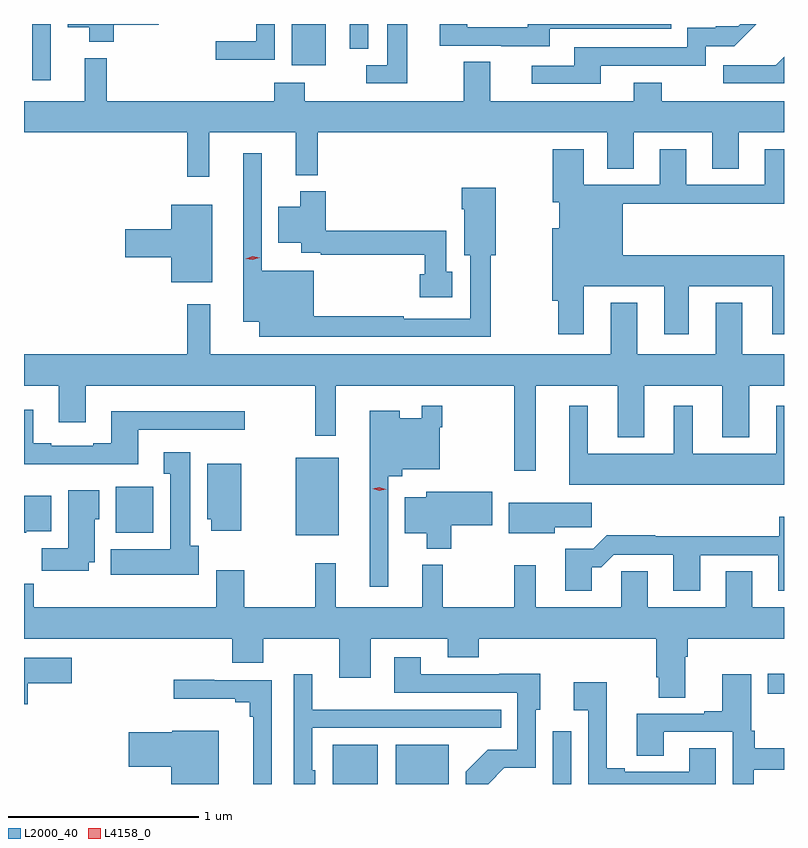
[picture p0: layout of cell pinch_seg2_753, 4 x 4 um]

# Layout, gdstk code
import gdstk
lib = gdstk.Library(unit=1e-6, precision=1e-09)
def R(c, l, rs):  # rectangles x0, y0, x1, y1
    for r in rs: c.add(gdstk.rectangle(r[:2], r[2:], *l))
def P(c, l, *ps):  # polygons
    for p in ps: c.add(gdstk.Polygon(p, *l))
L2000_40 = (2000, 40)
L4158_0 = (4158, 0)

pinch_seg2_753 = lib.new_cell('pinch_seg2_753')
R(pinch_seg2_753, L2000_40, [(730.973,634.883,731.212,635.089), (731.306,634.883,731.584,635.089), (732.132,634.883,732.228,635.161), (733.263,635.359,733.349,635.462), (730.778,636.191,731.005,636.601), (729.833,636.206,730.03,636.448), (729.392,638.586,729.489,638.883), (730.757,638.666,730.936,638.883), (731.064,638.752,731.16,638.883), (730.223,638.882,730.483,638.883)])
P(pinch_seg2_753, L2000_40, [(729.822,638.878),(730.057,638.878),(730.057,638.883),(729.578,638.883),(729.578,638.867),(729.692,638.867),(729.692,638.789),(729.822,638.789)],
  [(731.365,638.883),(731.261,638.883),(731.261,638.667),(731.151,638.667),(731.151,638.571),(731.365,638.571)],
  [(732.115,638.859),(732.755,638.859),(732.755,638.883),(732,638.883),(732,638.865),(731.682,638.865),(731.682,638.883),(731.537,638.883),(731.537,638.769),(731.861,638.769),(731.861,638.765),(732.115,638.765)],
  [(730.668,638.883),(730.572,638.883),(730.572,638.793),(730.359,638.793),(730.359,638.695),(730.668,638.695)],
  [(732.385,638.664),(732.936,638.664),(732.936,638.766),(733.087,638.766),(733.204,638.883),(733.12,638.883),(733.109,638.872),(732.99,638.872),(732.99,638.863),(732.84,638.863),(732.84,638.76),(732.245,638.76),(732.245,638.664),(732.021,638.664),(732.021,638.568),(732.385,638.568)],
  [(733.349,638.711),(733.305,638.667),(733.029,638.667),(733.029,638.571),(733.349,638.571)],
  [(730.325,638.312),(730.778,638.312),(730.778,638.087),(730.895,638.087),(730.895,638.312),(732.419,638.312),(732.419,638.122),(732.559,638.122),(732.559,638.312),(732.971,638.312),(732.971,638.122),(733.111,638.122),(733.111,638.312),(733.349,638.312),(733.349,638.476),(732.705,638.476),(732.705,638.575),(732.557,638.575),(732.557,638.476),(731.803,638.476),(731.803,638.684),(731.663,638.684),(731.663,638.476),(730.827,638.476),(730.827,638.575),(730.667,638.575),(730.667,638.476),(729.785,638.476),(729.785,638.704),(729.668,638.704),(729.668,638.476),(729.349,638.476),(729.349,638.312),(730.207,638.312),(730.207,638.079),(730.325,638.079)],
  [(732.295,637.502),(732.719,637.502),(732.719,637.251),(732.847,637.251),(732.847,637.502),(733.286,637.502),(733.286,637.251),(733.349,637.251),(733.349,637.666),(732.499,637.666),(732.499,637.936),(733.349,637.936),(733.349,638.224),(733.247,638.224),(733.247,638.037),(732.835,638.037),(732.835,638.224),(732.695,638.224),(732.695,638.037),(732.295,638.037),(732.295,638.224),(732.131,638.224),(732.131,637.944),(732.167,637.944),(732.167,637.807),(732.128,637.807),(732.128,637.427),(732.16,637.427),(732.16,637.251),(732.295,637.251)],
  [(731.806,637.667),(731.832,637.667),(731.832,638.02),(731.654,638.02),(731.654,637.907),(731.666,637.907),(731.666,637.667),(731.697,637.667),(731.697,637.332),(731.348,637.332),(731.348,637.345),(730.873,637.345),(730.873,637.585),(730.599,637.585),(730.599,638.203),(730.502,638.203),(730.502,637.316),(730.586,637.316),(730.586,637.236),(731.806,637.236)],
  [(731.602,637.58),(731.571,637.58),(731.571,637.796),(730.937,637.796),(730.937,638.002),(730.802,638.002),(730.802,637.921),(730.688,637.921),(730.688,637.733),(730.808,637.733),(730.808,637.68),(730.912,637.68),(730.912,637.668),(731.459,637.668),(731.459,637.567),(731.432,637.567),(731.432,637.445),(731.602,637.445)],
  [(730.339,637.933),(730.124,637.933),(730.124,637.802),(729.882,637.802),(729.882,637.655),(730.124,637.655),(730.124,637.523),(730.339,637.523)],
  [(732.043,636.98),(732.473,636.98),(732.473,636.707),(732.613,636.707),(732.613,636.98),(733.025,636.98),(733.025,636.707),(733.165,636.707),(733.165,636.98),(733.349,636.98),(733.349,637.144),(733.129,637.144),(733.129,637.417),(732.989,637.417),(732.989,637.144),(732.577,637.144),(732.577,637.417),(732.437,637.417),(732.437,637.144),(730.328,637.144),(730.328,637.408),(730.207,637.408),(730.207,637.144),(729.349,637.144),(729.349,636.98),(729.533,636.98),(729.533,636.786),(729.673,636.786),(729.673,636.98),(730.881,636.98),(730.881,636.717),(730.99,636.717),(730.99,636.98),(731.929,636.98),(731.929,636.531),(732.043,636.531)],
  [(731.265,636.503),(731.339,636.503),(731.339,636.539),(731.538,636.539),(731.538,636.761),(731.551,636.761),(731.551,636.874),(731.442,636.874),(731.442,636.808),(731.326,636.808),(731.326,636.847),(731.168,636.847),(731.168,635.922),(731.265,635.922)],
  [(733.349,636.874),(733.307,636.874),(733.307,636.622),(732.868,636.622),(732.868,636.874),(732.77,636.874),(732.77,636.622),(732.316,636.622),(732.316,636.874),(732.218,636.874),(732.218,636.458),(733.349,636.458)],
  [(729.949,636.747),(730.51,636.747),(730.51,636.844),(729.809,636.844),(729.809,636.676),(729.713,636.676),(729.713,636.663),(729.493,636.663),(729.493,636.676),(729.397,636.676),(729.397,636.853),(729.349,636.853),(729.349,636.566),(729.949,636.566)],
  [(730.27,636.138),(730.225,636.138),(730.225,636.628),(730.085,636.628),(730.085,636.515),(730.118,636.515),(730.118,636.118),(729.806,636.118),(729.806,635.984),(730.27,635.984)],
  [(730.492,636.568),(730.313,636.568),(730.313,636.276),(730.334,636.276),(730.334,636.216),(730.492,636.216)],
  [(729.691,636.05),(729.721,636.05),(729.721,636.276),(729.745,636.276),(729.745,636.43),(729.581,636.43),(729.581,636.124),(729.442,636.124),(729.442,636.006),(729.691,636.006)],
  [(731.598,636.244),(731.814,636.244),(731.814,636.422),(731.466,636.422),(731.466,636.391),(731.354,636.391),(731.354,636.203),(731.468,636.203),(731.468,636.122),(731.598,636.122)],
  [(729.36,636.212),(729.493,636.212),(729.493,636.4),(729.349,636.4),(729.349,636.206),(729.36,636.206)],
  [(732.142,636.235),(732.337,636.235),(732.337,636.364),(731.899,636.364),(731.899,636.203),(732.142,636.203)],
  [(732.337,636.023),(732.386,636.023),(732.453,636.09),(732.767,636.09),(732.767,635.901),(732.907,635.901),(732.907,636.087),(733.319,636.087),(733.319,635.901),(733.349,635.901),(733.349,636.289),(733.325,636.289),(733.325,636.188),(732.671,636.188),(732.671,636.191),(732.416,636.191),(732.346,636.121),(732.197,636.121),(732.197,635.901),(732.337,635.901)],
  [(732.829,635.552),(732.842,635.552),(732.842,635.648),(733.349,635.648),(733.349,635.812),(733.183,635.812),(733.183,636.002),(733.043,636.002),(733.043,635.812),(732.631,635.812),(732.631,636.002),(732.492,636.002),(732.492,635.812),(732.043,635.812),(732.043,636.034),(731.929,636.034),(731.929,635.812),(731.554,635.812),(731.554,636.037),(731.444,636.037),(731.444,635.812),(730.991,635.812),(730.991,636.046),(730.881,636.046),(730.881,635.812),(730.509,635.812),(730.509,636.007),(730.361,636.007),(730.361,635.812),(729.401,635.812),(729.401,635.936),(729.349,635.936),(729.349,635.648),(730.445,635.648),(730.445,635.52),(730.609,635.52),(730.609,635.648),(731.009,635.648),(731.009,635.442),(731.173,635.442),(731.173,635.648),(731.579,635.648),(731.579,635.549),(731.743,635.549),(731.743,635.648),(732.677,635.648),(732.677,635.446),(732.689,635.446),(732.689,635.338),(732.829,635.338)],
  [(731.877,634.968),(732.042,634.968),(732.042,635.274),(732.067,635.274),(732.067,635.462),(731.849,635.462),(731.849,635.46),(731.437,635.46),(731.437,635.551),(731.297,635.551),(731.297,635.364),(731.946,635.364),(731.946,635.064),(731.789,635.064),(731.673,634.948),(731.673,634.883),(731.792,634.883)],
  [(729.37,635.414),(729.601,635.414),(729.601,635.548),(729.349,635.548),(729.349,635.303),(729.37,635.303)],
  [(730.882,634.956),(730.866,634.956),(730.866,635.178),(731.861,635.178),(731.861,635.274),(731.201,635.274),(731.201,635.275),(730.867,635.275),(730.867,635.461),(730.77,635.461),(730.77,634.883),(730.882,634.883)],
  [(733.191,634.959),(733.349,634.959),(733.349,635.072),(733.196,635.072),(733.196,635.164),(733.176,635.164),(733.176,635.461),(733.025,635.461),(733.025,635.266),(732.929,635.266),(732.929,635.253),(732.575,635.253),(732.575,635.032),(732.715,635.032),(732.715,635.157),(733.08,635.157),(733.08,634.883),(733.191,634.883)],
  [(730.653,635.43),(730.349,635.43),(730.349,635.432),(730.137,635.432),(730.137,635.333),(730.46,635.333),(730.46,635.314),(730.537,635.314),(730.537,635.237),(730.556,635.237),(730.556,634.883),(730.653,634.883)],
  [(732.991,635.072),(732.851,635.072),(732.851,634.947),(732.511,634.947),(732.511,634.967),(732.415,634.967),(732.415,635.419),(732.243,635.419),(732.243,635.27),(732.318,635.27),(732.318,634.883),(732.991,634.883)],
  [(730.375,635.164),(730.128,635.164),(730.128,635.156),(729.9,635.156),(729.9,634.973),(730.124,634.973),(730.124,634.883),(730.375,634.883)])
P(pinch_seg2_753, L4158_0, [(731.219,636.426),(731.184,636.438),(731.184,636.438),(731.184,636.438),(731.22,636.446),(731.254,636.434),(731.255,636.434),(731.254,636.434)],
  [(730.553,637.641),(730.517,637.648),(730.517,637.648),(730.517,637.648),(730.552,637.661),(730.588,637.653),(730.589,637.653),(730.588,637.653)])

lib.write_gds('pinch_seg2_753.gds')
